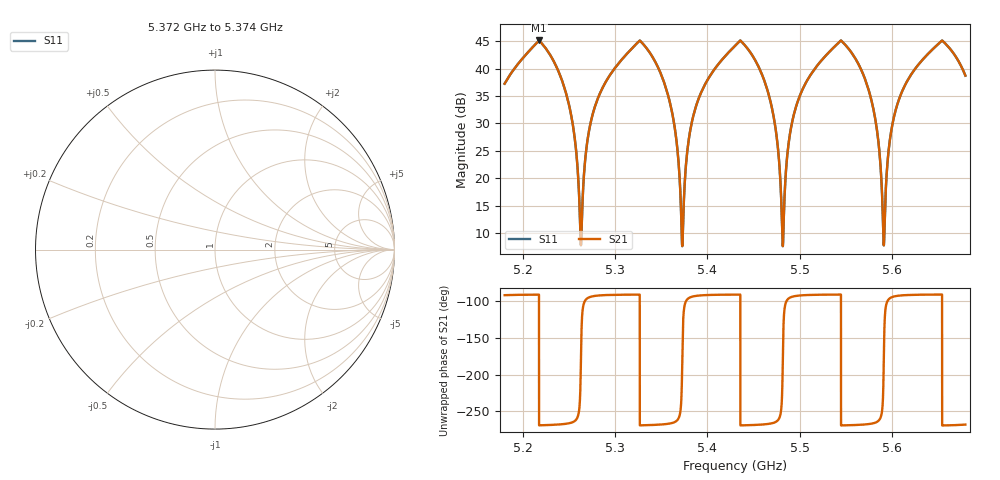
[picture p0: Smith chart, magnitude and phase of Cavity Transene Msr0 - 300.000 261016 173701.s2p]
# HZ S RI R 50
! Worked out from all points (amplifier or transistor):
!   5000 points, 5.18 GHz to 5.68 GHz, reference 50 ohm
!   highest |S21| = 45.1 dB at 5.217 GHz (marker M1)
!   |S21| within 3 dB of that: 5.636 GHz to 5.67 GHz (33.47 MHz wide, 0.592 % of centre)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
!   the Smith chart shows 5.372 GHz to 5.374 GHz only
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5.18e9  -2.045 -72.7  -2.045 -72.7  0 0  0 0
5.199004e9  -2.258 -122.2  -2.258 -122.2  0 0  0 0
5.214807e9  -2.798 -170.8  -2.798 -170.8  0 0  0 0
5.217408e9  -2.903 180  -2.903 180  0 0  0 0
5.219908e9  -3.007 170.9  -3.007 170.9  0 0  0 0
5.249214e9  -3.056 49.2  -3.056 49.2  0 0  0 0
5.263417e9  -2.439 -2.006  -2.439 -2.006  0 0  0 0
5.324129e9  -2.612 -171.4  -2.612 -171.4  0 0  0 0
5.32923e9  -2.801 170.9  -2.801 170.9  0 0  0 0
5.346733e9  -3.178 101.3  -3.178 101.3  0 0  0 0
5.376739e9  -2.278 -12.91  -2.278 -12.91  0 0  0 0
5.43005e9  -2.436 -161.4  -2.436 -161.4  0 0  0 0
5.433251e9  -2.532 -171.5  -2.532 -171.5  0 0  0 0
5.438352e9  -2.699 171.1  -2.699 171.1  0 0  0 0
5.48046e9  -2.462 4.835  -2.462 4.835  0 0  0 0
5.513367e9  -1.925 -91.09  -1.925 -91.09  0 0  0 0
5.542472e9  -2.412 -171.9  -2.412 -171.9  0 0  0 0
5.547574e9  -2.564 171.4  -2.564 171.4  0 0  0 0
5.596683e9  -2.294 -17.77  -2.294 -17.77  0 0  0 0
5.652194e9  -2.295 -172.2  -2.295 -172.2  0 0  0 0
5.657296e9  -2.436 171.7  -2.436 171.7  0 0  0 0
5.68e9  -2.949 86.08  -2.949 86.08  0 0  0 0
